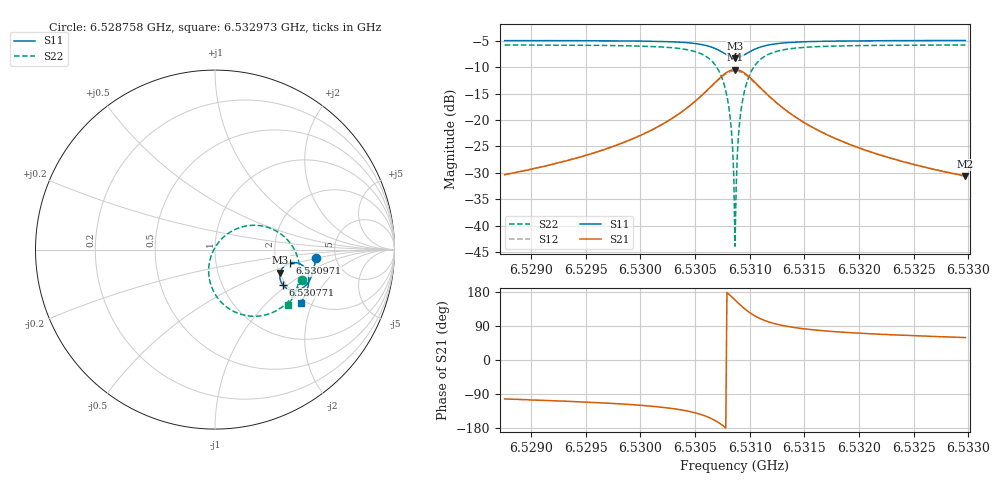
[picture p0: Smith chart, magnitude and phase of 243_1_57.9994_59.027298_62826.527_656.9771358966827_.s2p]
#  HZ  S  RI  R  50.00
! Rohde & Schwarz Vector Network Analyzer
! Rohde-Schwarz,ZNB20-2Port,1311601062101988,3.16
! Created: UTC 3/21/2024, 1:01:08 AM
! freq[Hz]  re:S11  im:S11  re:S21  im:S21  re:S12  im:S12  re:S22  im:S22
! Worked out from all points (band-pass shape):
!   401 points, 6.528758 GHz to 6.532973 GHz, reference 50 ohm
!   highest |S21| = -10.47 dB at 6.530866 GHz (marker M1); lowest = -30.6 dB at 6.532973 GHz (marker M2)
!   |S21| within 3 dB of the highest: 6.530655 GHz to 6.531077 GHz (421.8 kHz wide, 0.00646 % of centre)
!   lowest |S11| = -8.3 dB at 6.530866 GHz (marker M3), VSWR 2.26, Z = 101 - j30.4 ohm
!   |S11| at or under -10 dB: nowhere
!   |S22| runs from -43.8 to -5.8 dB; largest |S21 - S12| = 0.012
!   S11 on the Smith chart (normalised r, x): 6.528758 GHz: 3.49, -0.49; 6.530771 GHz: 1.92, -0.92; 6.530971 GHz: 2.38, -0.43; 6.532973 GHz: 1.89, -1.65
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6.5287581e9  0.5601 -0.0475  -0.00672 -0.0297  -0.00741 -0.0295  0.4833 -0.1678
6.5294641e9  0.5511 -0.1061  -0.0159 -0.0423  -0.0168 -0.042  0.4525 -0.2318
6.5301702e9  0.5242 -0.176  -0.0487 -0.0726  -0.0508 -0.0713  0.3723 -0.3211
6.5305917e9  0.4553 -0.2264  -0.1541 -0.0983  -0.1565 -0.092  0.1698 -0.3667
6.5306971e9  0.4111 -0.2221  -0.2225 -0.0727  -0.2217 -0.0633  0.0552 -0.3123
6.5307708e9  0.3766 -0.1959  -0.2726 -0.0154  -0.2671 -0.00571  -0.0193 -0.207
6.5308024e9  0.366 -0.1762  -0.2859 0.0222  -0.2781 0.0308  -0.0344 -0.1421
6.5308235e9  0.3619 -0.161  -0.289 0.0507  -0.28 0.0582  -0.0346 -0.0944
6.5308341e9  0.3613 -0.1527  -0.2889 0.0656  -0.2792 0.0721  -0.0311 -0.0703
6.5308446e9  0.3613 -0.1444  -0.2869 0.0806  -0.2768 0.0861  -0.0253 -0.0463
6.5308551e9  0.3622 -0.1361  -0.2836 0.0953  -0.2732 0.1  -0.0171 -0.0227
6.5308657e9  0.3642 -0.1277  -0.2788 0.1099  -0.2681 0.1136  -0.00642 0.000185
6.5308762e9  0.3669 -0.1199  -0.2725 0.1238  -0.2619 0.1267  0.00627 0.0217
6.5308868e9  0.3704 -0.1123  -0.265 0.1372  -0.2544 0.139  0.0213 0.042
6.5308973e9  0.3747 -0.1052  -0.2562 0.1495  -0.2458 0.1504  0.0376 0.0604
6.5309184e9  0.3855 -0.093  -0.2358 0.1707  -0.2262 0.1701  0.075 0.0913
6.5309711e9  0.4175 -0.0746  -0.1769 0.2022  -0.1702 0.1994  0.1775 0.1323
6.5310448e9  0.4596 -0.0744  -0.1033 0.2043  -0.0997 0.2014  0.301 0.1215
6.5311502e9  0.4964 -0.0962  -0.0397 0.1742  -0.038 0.1727  0.403 0.0552
6.5315717e9  0.5229 -0.1751  0.0149 0.0843  0.0161 0.084  0.4721 -0.1336
6.5322778e9  0.5046 -0.2469  0.0172 0.0404  0.018 0.0402  0.443 -0.2482
6.5329733e9  0.4785 -0.2991  0.0151 0.0253  0.0155 0.0251  0.4077 -0.3081
